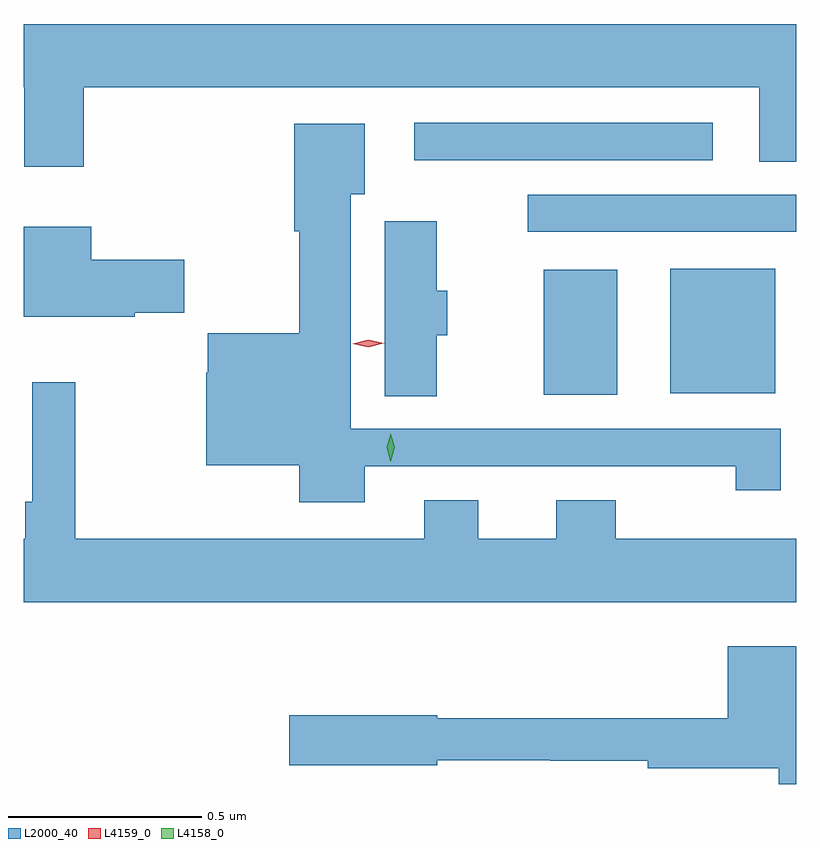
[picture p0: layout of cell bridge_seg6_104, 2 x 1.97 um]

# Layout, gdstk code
import gdstk
lib = gdstk.Library(unit=1e-6, precision=1e-09)
def R(c, l, rs):  # rectangles x0, y0, x1, y1
    for r in rs: c.add(gdstk.rectangle(r[:2], r[2:], *l))
def P(c, l, *ps):  # polygons
    for p in ps: c.add(gdstk.Polygon(p, *l))
L2000_40 = (2000, 40)
L4158_0 = (4158, 0)
L4159_0 = (4159, 0)

bridge_seg6_104 = lib.new_cell('bridge_seg6_104')
R(bridge_seg6_104, L2000_40, [(390.659,943.877,390.85,944.2), (390.986,943.88,391.258,944.203), (390.618,944.298,391.313,944.394), (390.324,944.484,391.096,944.58)])
P(bridge_seg6_104, L2000_40, [(389.468,944.672),(391.217,944.672),(391.217,944.479),(391.313,944.479),(391.313,944.836),(389.313,944.836),(389.313,944.672),(389.315,944.672),(389.315,944.466),(389.468,944.466)],
  [(390.196,943.692),(390.928,943.692),(390.928,943.691),(391.156,943.691),(391.156,943.629),(391.273,943.629),(391.273,943.788),(390.16,943.788),(390.16,944.396),(390.196,944.396),(390.196,944.578),(390.014,944.578),(390.014,944.3),(390.026,944.3),(390.026,944.035),(389.79,944.035),(389.79,943.934),(389.786,943.934),(389.786,943.694),(390.026,943.694),(390.026,943.598),(390.196,943.598)],
  [(390.382,944.031),(390.409,944.031),(390.409,944.145),(390.382,944.145),(390.382,944.326),(390.248,944.326),(390.248,943.873),(390.382,943.873)],
  [(389.601,944.089),(389.729,944.089),(389.729,944.226),(389.488,944.226),(389.488,944.311),(389.313,944.311),(389.313,944.078),(389.601,944.078)],
  [(391.313,943.504),(390.845,943.504),(390.845,943.603),(390.692,943.603),(390.692,943.504),(390.49,943.504),(390.49,943.603),(390.35,943.603),(390.35,943.504),(389.446,943.504),(389.446,943.909),(389.335,943.909),(389.335,943.6),(389.317,943.6),(389.317,943.504),(389.313,943.504),(389.313,943.34),(391.313,943.34)],
  [(391.313,943.225),(391.136,943.225),(391.136,943.039),(390.384,943.039),(390.384,943.047),(390,943.047),(390,942.917),(390.384,942.917),(390.384,942.93),(390.676,942.93),(390.676,942.929),(390.928,942.929),(390.928,942.91),(391.268,942.91),(391.268,942.869),(391.313,942.869)])
P(bridge_seg6_104, L4158_0, [(390.262,943.704),(390.262,943.704),(390.253,943.74),(390.263,943.775),(390.263,943.776),(390.263,943.775),(390.273,943.74),(390.263,943.704)])
P(bridge_seg6_104, L4159_0, [(390.205,943.999),(390.165,944.008),(390.164,944.009),(390.165,944.009),(390.205,944.019),(390.245,944.01),(390.246,944.01),(390.245,944.01)])

lib.write_gds('bridge_seg6_104.gds')
